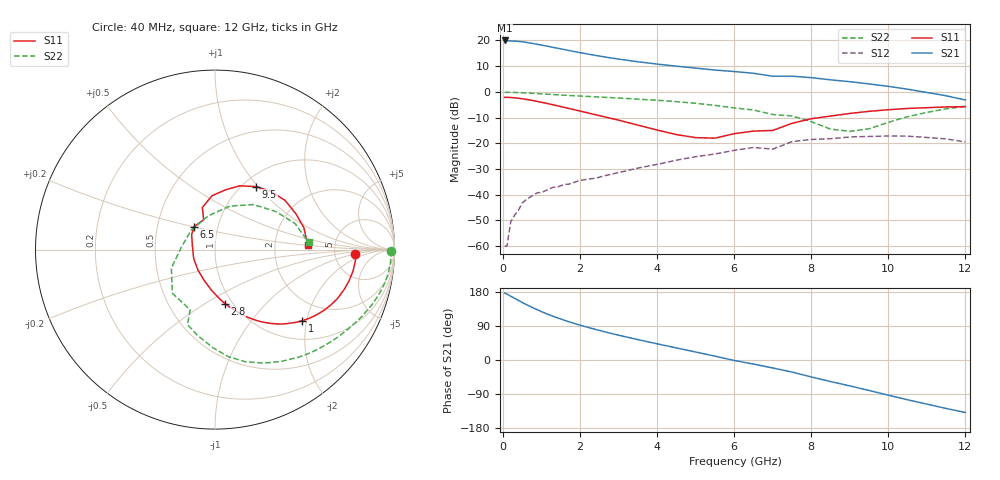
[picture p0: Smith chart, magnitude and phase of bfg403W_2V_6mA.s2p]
! Filename: 26bfg403.001
! BFG403W Field A1
! V1=9.043E-001V,V2=2.000E+000V, I1=9.783E-005A, I2=5.990E-003A
# GHz  S  MA  R 50
!  S11  S21  S12  S22
!Freq(GHz)  Mag  Ang  Mag  Ang  Mag  Ang  Mag  Ang
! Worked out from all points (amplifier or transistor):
!   44 points, 40 MHz to 12 GHz, reference 50 ohm
!   highest |S21| = 20.0 dB at 40 MHz (marker M1)
!   |S21| within 3 dB of that: start of sweep to 1.404 GHz
!   unconditionally stable (mu >= 1): start of sweep to 69.88 MHz; 1.393 GHz to end of sweep
!   at 700 MHz: K = 0.53, MSG = 30.0 dB, |S12| = -40.9 dB
!   at 2.4 GHz: K = 1.57, MAG = 19.4 dB, |S12| = -33.6 dB
!   at 12 GHz: K = 3.73, MAG = -0.5 dB, |S12| = -19.5 dB
!   S11 on the Smith chart (normalised r, x): 40 MHz: 8.02, -1.12; 1 GHz: 1.44, -1.89; 2.8 GHz: 0.92, -0.61; 6.5 GHz: 0.77, +0.20; 9.5 GHz: 1.15, +0.98; 12 GHz: 3.12, +0.23
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0.04  0.782 -2.0  10.01 176.7  0.001 53.2  0.978 -0.4
0.1  0.785 -4.5  9.872 174.0  0.001 91.5  0.982 -2.0
0.2  0.778 -8.9  9.816 168.3  0.003 83.3  0.98 -4.5
0.3  0.767 -13.1  9.727 162.7  0.004 80.5  0.976 -6.9
0.5  0.735 -21.7  9.43 151.6  0.007 74.5  0.963 -11.3
0.6  0.716 -25.4  9.187 146.5  0.008 73.0  0.955 -13.4
0.8  0.673 -32.7  8.661 136.7  0.01 69.1  0.936 -17.4
1  0.628 -39.1  8.141 127.6  0.011 66.2  0.916 -21.2
1.3  0.561 -47.6  7.336 115.3  0.014 63.0  0.888 -26.4
1.6  0.498 -55.0  6.631 104.6  0.016 61.4  0.862 -31.1
1.9  0.441 -61.5  5.992 94.9  0.018 60.5  0.839 -35.7
2.2  0.391 -67.6  5.446 86.1  0.02 60.1  0.816 -40.2
2.8  0.306 -79.5  4.578 70.3  0.025 59.8  0.774 -49.0
3.5  0.226 -95.3  3.858 53.8  0.033 57.8  0.724 -59.4
4.5  0.148 -130.1  3.163 31.9  0.047 50.2  0.647 -74.9
5.5  0.126 173.7  2.662 10.1  0.062 38.3  0.547 -91.2
6.5  0.173 132.5  2.303 -10.8  0.083 26.2  0.445 -110.1
8  0.301 93.0  1.892 -44.7  0.119 -1.5  0.264 -157.0
8.5  0.339 79.7  1.716 -56.8  0.123 -13.0  0.189 176.7
9.5  0.419 56.9  1.429 -80.4  0.136 -36.8  0.192 101.0
10.5  0.477 35.1  1.13 -105.1  0.138 -62.8  0.33 49.5
12  0.517 3.0  0.696 -138.6  0.106 -105.2  0.523 4.4
